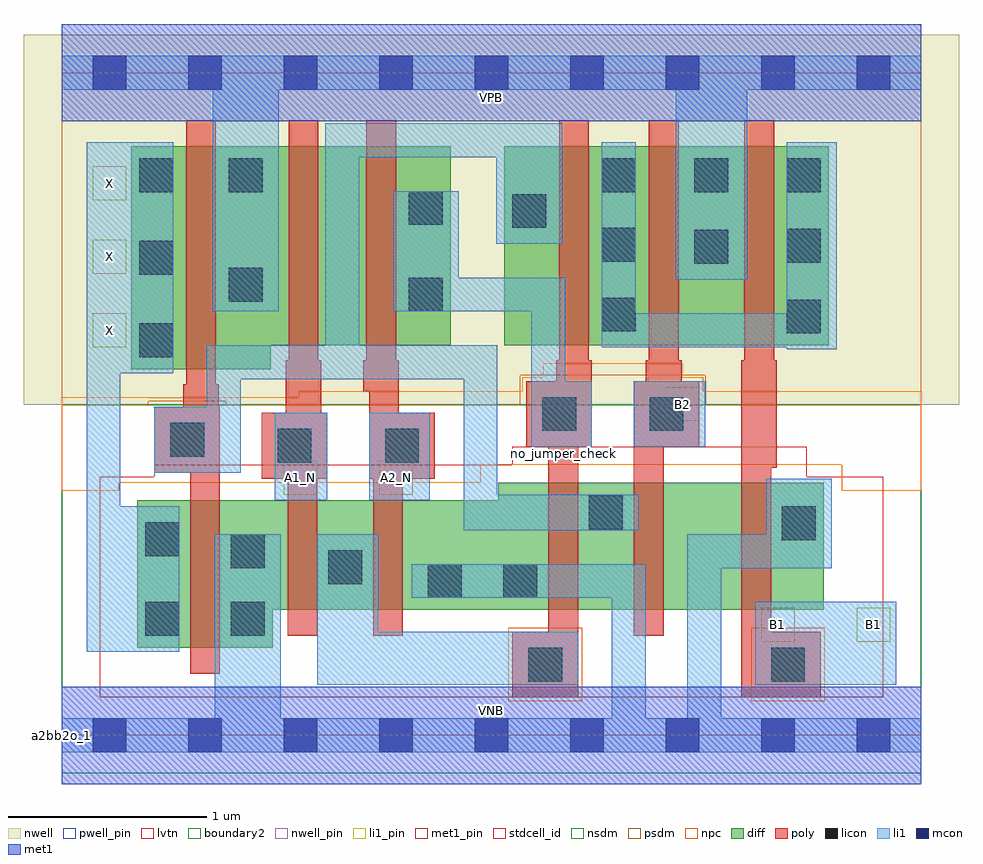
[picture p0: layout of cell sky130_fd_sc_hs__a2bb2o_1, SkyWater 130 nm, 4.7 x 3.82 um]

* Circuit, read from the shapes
.subckt sky130_fd_sc_hs__a2bb2o_1 A1_N A2_N B1 B2 VGND VNB VPB VPWR X
XM1 VGND n1 X VNB sky130_fd_pr__nfet_01v8_lvt w=0.74 l=0.15
XM2 n2 A1_N VGND VNB sky130_fd_pr__nfet_01v8_lvt w=0.55 l=0.15
XM3 VGND A2_N n2 VNB sky130_fd_pr__nfet_01v8_lvt w=0.55 l=0.15
XM4 n1 n2 VGND VNB sky130_fd_pr__nfet_01v8_lvt w=0.64 l=0.15
XM5 n3 B2 n1 VNB sky130_fd_pr__nfet_01v8_lvt w=0.64 l=0.15
XM6 VGND B1 n3 VNB sky130_fd_pr__nfet_01v8_lvt w=0.64 l=0.15
XM7 VPWR n1 X VPB sky130_fd_pr__pfet_01v8 w=1.12 l=0.15
XM8 n4 A1_N VPWR VPB sky130_fd_pr__pfet_01v8 w=1 l=0.15
XM9 n2 A2_N n4 VPB sky130_fd_pr__pfet_01v8 w=1 l=0.15
XM10 n5 n2 n1 VPB sky130_fd_pr__pfet_01v8 w=1 l=0.15
XM11 VPWR B2 n5 VPB sky130_fd_pr__pfet_01v8 w=1 l=0.15
XM12 n5 B1 VPWR VPB sky130_fd_pr__pfet_01v8 w=1 l=0.15
.ends

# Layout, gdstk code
import gdstk
lib = gdstk.Library(unit=1e-6, precision=1e-09)
def R(c, l, rs):  # rectangles x0, y0, x1, y1
    for r in rs: c.add(gdstk.rectangle(r[:2], r[2:], *l))
def A(c, l, x, y, w, h, nx, ny, dx, dy):  # array of equal rectangles
    R(c, l, [(x+i*dx, y+j*dy, x+i*dx+w, y+j*dy+h) for i in range(nx) for j in range(ny)])
def P(c, l, *ps):  # polygons
    for p in ps: c.add(gdstk.Polygon(p, *l))
nwell_pin = (64, 16)
nwell = (64, 20)
diff = (65, 20)
poly = (66, 20)
licon = (66, 44)
li1_pin = (67, 16)
li1 = (67, 20)
mcon = (67, 44)
met1_pin = (68, 16)
met1 = (68, 20)
stdcell_id = (81, 4)
nsdm = (93, 44)
psdm = (94, 20)
npc = (95, 20)
pwell_pin = (122, 16)
lvtn = (125, 44)
boundary2 = (236, 0)

sky130_fd_sc_hs__a2bb2o_ = lib.new_cell('sky130_fd_sc_hs__a2bb2o_1')
R(sky130_fd_sc_hs__a2bb2o_, nwell_pin, [(0,3.085,4.32,3.33)])
R(sky130_fd_sc_hs__a2bb2o_, nwell, [(-0.19,1.66,4.51,3.52)])
R(sky130_fd_sc_hs__a2bb2o_, diff, [(2.225,1.96,3.855,2.96)])
P(sky130_fd_sc_hs__a2bb2o_, diff, [(1.955,2.96),(0.35,2.96),(0.35,1.84),(1.05,1.84),(1.05,1.96),(1.955,1.96)],
  [(3.83,1.27),(2.195,1.27),(2.195,1.18),(0.38,1.18),(0.38,0.44),(1.06,0.44),(1.06,0.63),(3.83,0.63)])
P(sky130_fd_sc_hs__a2bb2o_, poly, [(3.815,0.52),(3.565,0.52),(3.565,1.345),(3.595,1.345),(3.595,1.885),(3.58,1.885),(3.58,3.09),(3.43,3.09),(3.43,1.885),(3.415,1.885),(3.415,0.19),(3.815,0.19)],
  [(3.205,1.78),(3.115,1.78),(3.115,1.885),(3.1,1.885),(3.1,3.09),(2.95,3.09),(2.95,1.885),(2.935,1.885),(2.935,1.78),(2.875,1.78),(2.875,0.5),(3.025,0.5),(3.025,1.45),(3.205,1.45)],
  [(2.665,1.885),(2.65,1.885),(2.65,3.09),(2.5,3.09),(2.5,1.885),(2.485,1.885),(2.485,1.78),(2.335,1.78),(2.335,1.45),(2.445,1.45),(2.445,0.52),(2.265,0.52),(2.265,0.19),(2.595,0.19),(2.595,1.45),(2.665,1.45)],
  [(1.875,1.62),(1.695,1.62),(1.695,1.885),(1.68,1.885),(1.68,3.09),(1.53,3.09),(1.53,1.885),(1.515,1.885),(1.515,1.73),(1.545,1.73),(1.545,1.29),(1.565,1.29),(1.565,0.5),(1.715,0.5),(1.715,1.29),(1.875,1.29)],
  [(1.335,1.62),(1.305,1.62),(1.305,1.885),(1.29,1.885),(1.29,3.09),(1.14,3.09),(1.14,1.885),(1.125,1.885),(1.125,1.62),(1.005,1.62),(1.005,1.29),(1.135,1.29),(1.135,0.5),(1.285,0.5),(1.285,1.29),(1.335,1.29)],
  [(0.795,1.65),(0.79,1.65),(0.79,1.765),(0.775,1.765),(0.775,3.09),(0.625,3.09),(0.625,1.765),(0.61,1.765),(0.61,1.65),(0.465,1.65),(0.465,1.32),(0.645,1.32),(0.645,0.31),(0.795,0.31)])
A(sky130_fd_sc_hs__a2bb2o_, licon, 0.39, 1.9, 0.17, 0.17, 1, 3, 0, 0.415)
A(sky130_fd_sc_hs__a2bb2o_, licon, 2.715, 2.73, 0.17, 0.17, 3, 1, 0.465, 0)
R(sky130_fd_sc_hs__a2bb2o_, licon, [(2.345,0.27,2.515,0.44), (3.565,0.27,3.735,0.44), (0.42,0.5,0.59,0.67), (0.85,0.5,1.02,0.67), (1.84,0.69,2.01,0.86), (2.22,0.69,2.39,0.86), (1.34,0.76,1.51,0.93), (0.85,0.84,1.02,1.01), (0.42,0.9,0.59,1.07), (3.62,0.98,3.79,1.15), (2.65,1.035,2.82,1.205), (1.085,1.37,1.255,1.54), (1.625,1.37,1.795,1.54), (0.545,1.4,0.715,1.57), (2.415,1.53,2.585,1.7), (2.955,1.53,3.125,1.7), (3.645,2.02,3.815,2.19), (2.715,2.03,2.885,2.2), (1.745,2.13,1.915,2.3), (0.84,2.18,1.01,2.35), (3.18,2.37,3.35,2.54), (3.645,2.375,3.815,2.545), (2.715,2.38,2.885,2.55), (2.265,2.55,2.435,2.72), (1.745,2.565,1.915,2.735), (0.84,2.73,1.01,2.9)])
A(sky130_fd_sc_hs__a2bb2o_, li1_pin, 0.155, 1.95, 0.17, 0.17, 1, 3, 0, 0.37)
R(sky130_fd_sc_hs__a2bb2o_, li1_pin, [(3.515,0.47,3.685,0.64), (3.995,0.47,4.165,0.64), (1.115,1.21,1.285,1.38), (1.595,1.21,1.765,1.38), (3.035,1.58,3.205,1.75)])
R(sky130_fd_sc_hs__a2bb2o_, li1, [(3.485,0.255,4.195,0.67), (1.07,1.18,1.335,1.62), (1.545,1.18,1.85,1.62), (2.875,1.45,3.235,1.78)])
P(sky130_fd_sc_hs__a2bb2o_, li1, [(3.085,2.29),(3.085,3.245),(1.09,3.245),(1.09,2.13),(0.76,2.13),(0.76,3.245),(0,3.245),(0,3.415),(4.32,3.415),(4.32,3.245),(3.445,3.245),(3.445,2.29)],
  [(2.765,0.085),(2.765,0.69),(1.76,0.69),(1.76,0.86),(2.935,0.86),(2.935,0.085),(3.145,0.085),(3.145,1.01),(3.54,1.01),(3.54,1.29),(3.87,1.29),(3.87,0.84),(3.315,0.84),(3.315,0.085),(4.32,0.085),(4.32,-0.085),(0,-0.085),(0,0.085),(0.77,0.085),(0.77,1.01),(1.1,1.01),(1.1,0.085)],
  [(1.995,2.3),(2.53,2.3),(2.53,1.78),(2.665,1.78),(2.665,1.45),(2.36,1.45),(2.36,2.13),(1.665,2.13),(1.665,2.735),(1.995,2.735)],
  [(2.515,3.075),(2.515,2.47),(2.185,2.47),(2.185,2.905),(1.495,2.905),(1.495,1.96),(2.19,1.96),(2.19,1.21),(2.9,1.21),(2.9,1.03),(2.02,1.03),(2.02,1.79),(0.9,1.79),(0.9,1.32),(0.465,1.32),(0.465,1.65),(0.73,1.65),(0.73,1.96),(1.325,1.96),(1.325,3.075)],
  [(0.125,2.98),(0.56,2.98),(0.56,1.82),(0.295,1.82),(0.295,1.15),(0.59,1.15),(0.59,0.42),(0.125,0.42)],
  [(1.285,1.01),(1.59,1.01),(1.59,0.52),(2.595,0.52),(2.595,0.255),(1.285,0.255)],
  [(3.645,1.94),(3.645,1.95),(2.715,1.95),(2.715,2.98),(2.885,2.98),(2.885,2.12),(3.645,2.12),(3.645,2.98),(3.895,2.98),(3.895,1.94)])
A(sky130_fd_sc_hs__a2bb2o_, mcon, 0.155, -0.085, 0.17, 0.17, 9, 2, 0.48, 3.33)
R(sky130_fd_sc_hs__a2bb2o_, met1_pin, [(0,0,4.32,0.245), (0,3.085,4.32,3.33)])
R(sky130_fd_sc_hs__a2bb2o_, met1, [(0,-0.245,4.32,0.245), (0,3.085,4.32,3.575)])
R(sky130_fd_sc_hs__a2bb2o_, stdcell_id, [(0,0,4.32,3.33)])
R(sky130_fd_sc_hs__a2bb2o_, nsdm, [(0,-0.19,4.32,1.66)])
P(sky130_fd_sc_hs__a2bb2o_, psdm, [(4.32,3.52),(0,3.52),(0,1.66),(0.435,1.66),(0.435,1.68),(0.825,1.68),(0.825,1.66),(2.305,1.66),(2.305,1.81),(3.235,1.81),(3.235,1.66),(4.32,1.66)])
R(sky130_fd_sc_hs__a2bb2o_, npc, [(2.245,0.17,2.615,0.54), (3.465,0.17,3.835,0.54)])
P(sky130_fd_sc_hs__a2bb2o_, npc, [(4.32,1.73),(3.225,1.73),(3.225,1.8),(3.12,1.8),(3.12,1.87),(2.42,1.87),(2.42,1.8),(2.315,1.8),(2.315,1.73),(1.19,1.73),(1.19,1.7),(0,1.7),(0,1.23),(0.29,1.23),(0.29,1.27),(2.105,1.27),(2.105,1.36),(3.92,1.36),(3.92,1.23),(4.32,1.23)])
R(sky130_fd_sc_hs__a2bb2o_, pwell_pin, [(0,0,4.32,0.245)])
P(sky130_fd_sc_hs__a2bb2o_, lvtn, [(4.13,1.3),(3.745,1.3),(3.745,1.45),(2.265,1.45),(2.265,1.36),(0.465,1.36),(0.465,1.3),(0.19,1.3),(0.19,0.19),(4.13,0.19)])
R(sky130_fd_sc_hs__a2bb2o_, boundary2, [(0,0,4.32,3.33)])
sky130_fd_sc_hs__a2bb2o_.add(gdstk.Label('a2bb2o_1', (0,0), layer=83, texttype=44))
sky130_fd_sc_hs__a2bb2o_.add(gdstk.Label('no_jumper_check', (2.52,1.415), layer=83, texttype=44))
sky130_fd_sc_hs__a2bb2o_.add(gdstk.Label('VNB', (2.16,0.123), layer=64, texttype=59))
sky130_fd_sc_hs__a2bb2o_.add(gdstk.Label('VPB', (2.16,3.208), layer=64, texttype=5))
sky130_fd_sc_hs__a2bb2o_.add(gdstk.Label('VPWR', (2.16,3.208), layer=68, texttype=5))
sky130_fd_sc_hs__a2bb2o_.add(gdstk.Label('VGND', (2.16,0.123), layer=68, texttype=5))
sky130_fd_sc_hs__a2bb2o_.add(gdstk.Label('B2', (3.12,1.665), layer=67, texttype=5))
sky130_fd_sc_hs__a2bb2o_.add(gdstk.Label('A1_N', (1.2,1.295), layer=67, texttype=5))
sky130_fd_sc_hs__a2bb2o_.add(gdstk.Label('X', (0.24,2.035), layer=67, texttype=5))
sky130_fd_sc_hs__a2bb2o_.add(gdstk.Label('X', (0.24,2.405), layer=67, texttype=5))
sky130_fd_sc_hs__a2bb2o_.add(gdstk.Label('X', (0.24,2.775), layer=67, texttype=5))
sky130_fd_sc_hs__a2bb2o_.add(gdstk.Label('B1', (3.6,0.555), layer=67, texttype=5))
sky130_fd_sc_hs__a2bb2o_.add(gdstk.Label('B1', (4.08,0.555), layer=67, texttype=5))
sky130_fd_sc_hs__a2bb2o_.add(gdstk.Label('A2_N', (1.68,1.295), layer=67, texttype=5))

lib.write_gds('sky130_fd_sc_hs__a2bb2o_1.gds')
